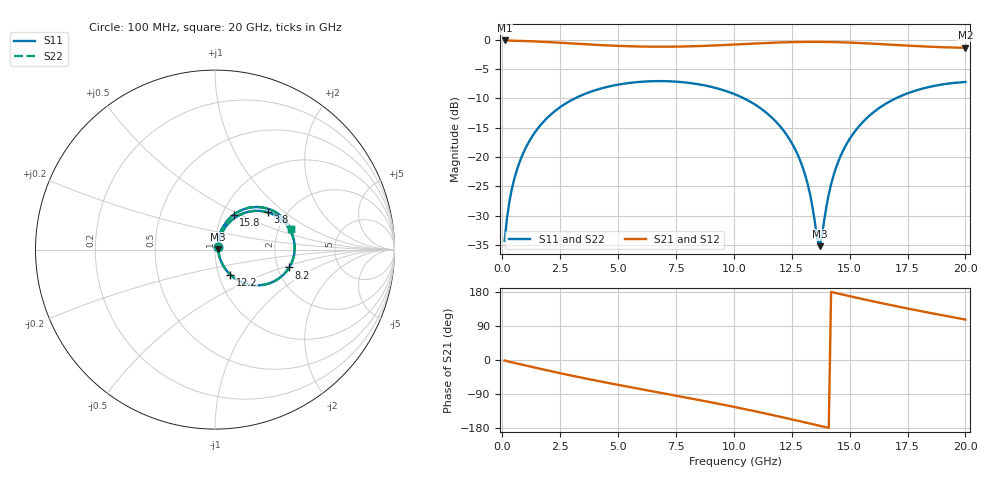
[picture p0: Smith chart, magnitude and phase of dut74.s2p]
! Touchstone file exported from HFSS 2026.1.0
!  File:  C:/ffzhzh/LocalFiles/Ansys_Project_Files/temp_train_TSV_RDL_74_1782970218_45308.aedt
!  Generated:  01:40:47 PM Jul  2, 2026
!  Design:  TSV_RDL
!  Project:  temp_train_TSV_RDL_74_1782970218_45308
! Variables:
!  h_bsmrdl = 5.88um
!  h_ox = 20um
!  h_rdl = 5um
!  h_sub = 65.9um
!  h_tmrdl = 3.38um
!  h_tsv = 65.9um
!  h_via = 3um
!  l_bsmrdl = 517.64um
!  l_sub = 4406.11um
!  l_tmrdl = 573.3um
!  m_sub = 200um
!  pitch = 50.26um
!  r_tsv = 11.09um
!  s_tmrdl = 10um
!  w_bsmrdl = 27.86um
!  w_sub = 500um
!  w_tmrdl = 25.47um
!  x_tsv_center1 = 586.035um
!  x_tsv_center2 = 1131.535um
!  x_tsv_center3 = 1730.305um
!  x_tsv_center4 = 2275.805um
!  x_tsv_center5 = 2874.575um
!  x_tsv_center6 = 3420.075um
# GHz S MA R 50.000000
! Terminal data exported
! Port[1] = TM_RDL1_1_T1
! Port[2] = TM_RDL5_1_T1
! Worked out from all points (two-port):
!   200 points, 100 MHz to 20 GHz, reference 50 ohm
!   highest |S21| = -0.12 dB at 100 MHz (marker M1); lowest = -1.4 dB at 20 GHz (marker M2)
!   |S21| within 3 dB of the highest: start of sweep to end of sweep
!   lowest |S11| = -35.2 dB at 13.7 GHz (marker M3), VSWR 1.04, Z = 51.8 + j0.204 ohm
!   |S11| at or under -10 dB: start of sweep to 3.133 GHz; 10.44 GHz to 16.99 GHz (6.548 GHz wide, 47.7 % of centre)
!   |S22| runs from -35.1 to -7.1 dB; largest |S21 - S12| = 1.7e-14
!   S11 on the Smith chart (normalised r, x): 100 MHz: 1.03, +0.03; 3.8 GHz: 1.61, +0.77; 8.2 GHz: 2.32, -0.56; 12.2 GHz: 1.13, -0.32; 15.8 GHz: 1.13, +0.46; 20 GHz: 2.33, +0.65
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0.1  0.01937 41.5  0.9857 -1.5  0.9857 -1.5  0.01937 41.5
! Gamma 0 0 0 0
! Port Impedance 50 0 50 0
0.3  0.04103 62.5  0.9833 -4.4  0.9833 -4.4  0.04103 62.5
0.5  0.06329 66.9  0.9809 -7.3  0.9809 -7.3  0.06329 66.9
1.1  0.1295 65.8  0.9729 -15.8  0.9729 -15.8  0.1295 65.8
2.1  0.2309 55.4  0.9524 -29.5  0.9524 -29.5  0.2309 55.4
3.5  0.3413 38.7  0.9173 -47.6  0.9173 -47.6  0.3413 38.7
3.8  0.3596 35.2  0.9102 -51.3  0.9102 -51.3  0.3596 35.2
6.8  0.4441 1.8  0.8716 -86.1  0.8716 -86.1  0.4441 1.8
8.2  0.4254 -13.5  0.8794 -102.1  0.8794 -102.1  0.4254 -13.5
10.1  0.3394 -35.0  0.9114 -124.8  0.9114 -124.8  0.3393 -35.0
11.3  0.248 -49.0  0.9359 -140.3  0.9359 -140.3  0.248 -49.0
12.2  0.1628 -58.8  0.9508 -152.5  0.9508 -152.5  0.1628 -58.7
12.9  0.0897 -63.2  0.9577 -162.2  0.9577 -162.2  0.08966 -63.1
13.4  0.03721 -53.3  0.9594 -169.2  0.9594 -169.2  0.03724 -53.0
13.7  0.01744 6.5  0.9591 -173.5  0.9591 -173.5  0.01764 6.7
14.1  0.04829 68.0  0.9569 -179.1  0.9569 -179.1  0.04844 67.8
14.5  0.09051 72.6  0.953 175.3  0.953 175.3  0.09063 72.5
15.1  0.1529 69.1  0.9441 167.0  0.9441 167.0  0.153 69.0
15.8  0.2204 61.9  0.9302 157.6  0.9302 157.6  0.2205 61.8
16.7  0.2954 51.7  0.9094 145.9  0.9094 145.9  0.2955 51.6
18.3  0.3902 33.5  0.8746 126.3  0.8746 126.3  0.3903 33.5
20  0.4363 15.1  0.8538 106.7  0.8538 106.7  0.4364 15.1
